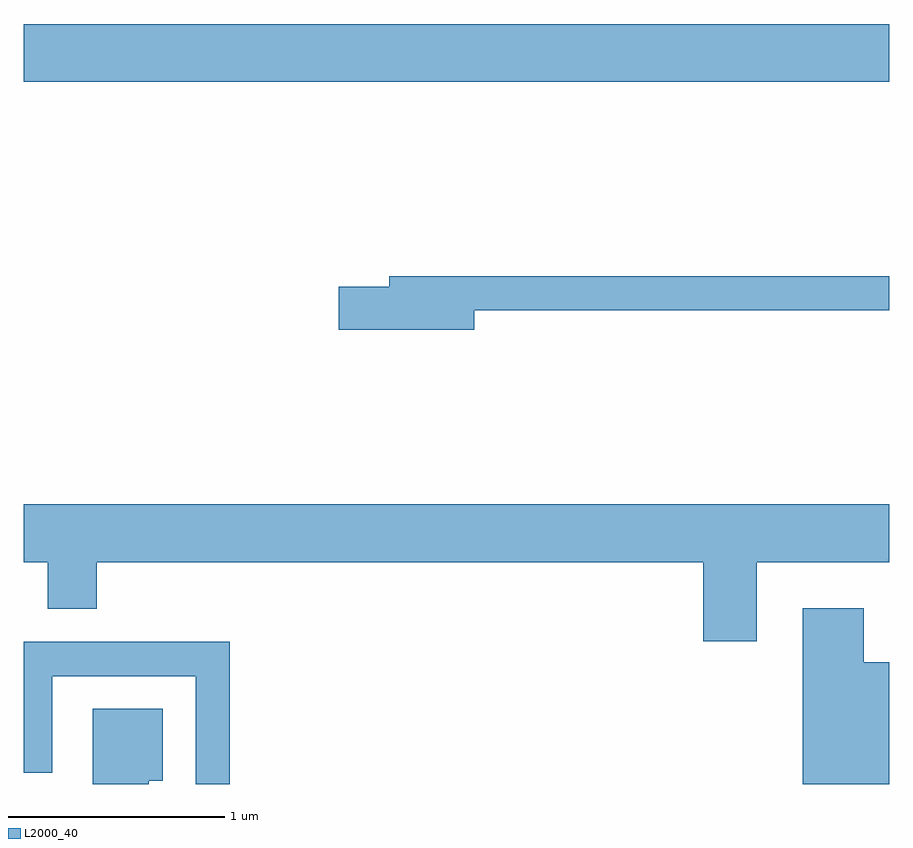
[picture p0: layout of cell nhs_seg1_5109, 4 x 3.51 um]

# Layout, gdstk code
import gdstk
lib = gdstk.Library(unit=1e-6, precision=1e-09)
def R(c, l, rs):  # rectangles x0, y0, x1, y1
    for r in rs: c.add(gdstk.rectangle(r[:2], r[2:], *l))
def P(c, l, *ps):  # polygons
    for p in ps: c.add(gdstk.Polygon(p, *l))
L2000_40 = (2000, 40)

nhs_seg1_5109 = lib.new_cell('nhs_seg1_5109')
R(nhs_seg1_5109, L2000_40, [(339.611,852.956,343.611,853.224)])
P(nhs_seg1_5109, L2000_40, [(341.694,851.901),(343.611,851.901),(343.611,852.059),(341.301,852.059),(341.301,852.009),(341.066,852.009),(341.066,851.811),(341.694,851.811)],
  [(342.999,850.736),(343.611,850.736),(343.611,851.004),(339.611,851.004),(339.611,850.736),(339.721,850.736),(339.721,850.521),(339.949,850.521),(339.949,850.736),(342.751,850.736),(342.751,850.371),(342.999,850.371)],
  [(343.611,850.274),(343.494,850.274),(343.494,850.524),(343.211,850.524),(343.211,849.712),(343.611,849.712)],
  [(340.564,850.369),(339.611,850.369),(339.611,849.763),(339.744,849.763),(339.744,850.211),(340.406,850.211),(340.406,849.712),(340.564,849.712)],
  [(340.189,849.726),(340.254,849.726),(340.254,850.059),(339.931,850.059),(339.931,849.712),(340.189,849.712)])

lib.write_gds('nhs_seg1_5109.gds')
